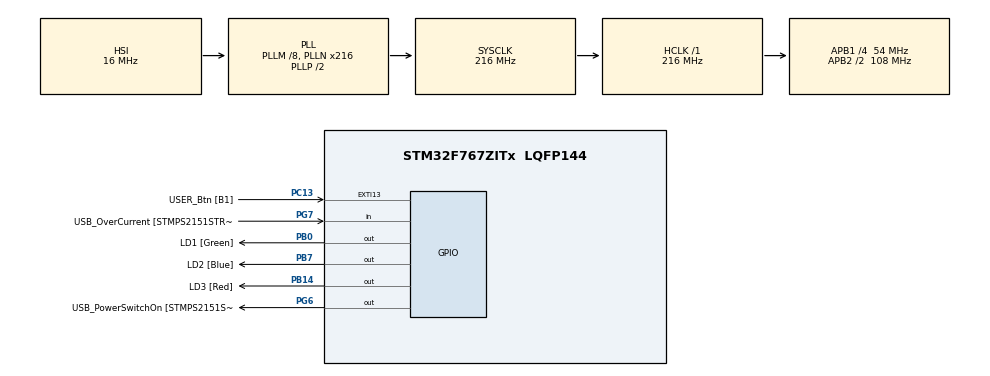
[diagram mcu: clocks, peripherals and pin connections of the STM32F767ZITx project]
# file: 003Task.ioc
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Mcu.Family=STM32F7
Mcu.Name=STM32F767ZITx
Mcu.Package=LQFP144
NVIC.PriorityGroup=NVIC_PRIORITYGROUP_4
NVIC.TIM6_DAC_IRQn=true\:15\:0\:false\:false\:true\:false\:true\:true
NVIC.TimeBase=TIM6_DAC_IRQn
NVIC.TimeBaseIP=TIM6
PA1.GPIO_Label=RMII_REF_CLK [LAN8742A-CZ-TR_REFCLK0]
PA1.Signal=ETH_REF_CLK
PA10.GPIO_Label=USB_ID
PA10.Signal=USB_OTG_FS_ID
PA11.GPIO_Label=USB_DM
PA11.Signal=USB_OTG_FS_DM
PA12.GPIO_Label=USB_DP
PA12.Signal=USB_OTG_FS_DP
PA13.GPIO_Label=TMS
PA13.Signal=SYS_JTMS-SWDIO
PA14.GPIO_Label=TCK
PA14.Signal=SYS_JTCK-SWCLK
PA2.GPIO_Label=RMII_MDIO [LAN8742A-CZ-TR_MDIO]
PA2.Signal=ETH_MDIO
PA7.GPIO_Label=RMII_CRS_DV [LAN8742A-CZ-TR_CRS_DV]
PA7.Signal=ETH_CRS_DV
PA8.GPIO_Label=USB_SOF [TP1]
PA8.Signal=USB_OTG_FS_SOF
PA9.GPIO_Label=USB_VBUS
PA9.Signal=USB_OTG_FS_VBUS
PB0.GPIO_Label=LD1 [Green]
PB0.Signal=GPIO_Output
PB13.GPIO_Label=RMII_TXD1 [LAN8742A-CZ-TR_TXD1]
PB13.Signal=ETH_TXD1
PB14.GPIO_Label=LD3 [Red]
PB14.Signal=GPIO_Output
PB3.GPIO_Label=SW0
PB3.Signal=SYS_JTDO-SWO
PB7.GPIO_Label=LD2 [Blue]
PB7.Signal=GPIO_Output
PC1.GPIO_Label=RMII_MDC [LAN8742A-CZ-TR_MDC]
PC1.Signal=ETH_MDC
PC13.GPIO_Label=USER_Btn [B1]
PC13.Signal=GPXTI13
PC14/OSC32_IN.Signal=RCC_OSC32_IN
PC15/OSC32_OUT.Signal=RCC_OSC32_OUT
PC4.GPIO_Label=RMII_RXD0 [LAN8742A-CZ-TR_RXD0]
PC4.Signal=ETH_RXD0
PC5.GPIO_Label=RMII_RXD1 [LAN8742A-CZ-TR_RXD1]
PC5.Signal=ETH_RXD1
PD8.GPIO_Label=STLK_RX [STM32F103CBT6_PA3]
PD8.Signal=USART3_TX
PD9.GPIO_Label=STLK_TX [STM32F103CBT6_PA2]
PD9.Signal=USART3_RX
PG11.GPIO_Label=RMII_TX_EN [LAN8742A-CZ-TR_TXEN]
PG11.Signal=ETH_TX_EN
PG13.GPIO_Label=RMII_TXD0 [LAN8742A-CZ-TR_TXD0]
PG13.Signal=ETH_TXD0
PG6.GPIO_Label=USB_PowerSwitchOn [STMPS2151STR_EN]
PG6.Signal=GPIO_Output
PG7.GPIO_Label=USB_OverCurrent [STMPS2151STR_FAULT]
PG7.Signal=GPIO_Input
PH0/OSC_IN.GPIO_Label=MCO [STM32F103CBT6_PA8]
PH0/OSC_IN.Signal=RCC_OSC_IN
PH1/OSC_OUT.Signal=RCC_OSC_OUT
ProjectManager.HeapSize=0x200
ProjectManager.StackSize=0x400
ProjectManager.TargetToolchain=STM32CubeIDE
RCC.48MHZClocksFreq_Value=24000000
RCC.AHBFreq_Value=216000000
RCC.APB1CLKDivider=RCC_HCLK_DIV4
RCC.APB1Freq_Value=54000000
RCC.APB1TimFreq_Value=108000000
RCC.APB2CLKDivider=RCC_HCLK_DIV2
RCC.APB2Freq_Value=108000000
RCC.APB2TimFreq_Value=216000000
RCC.CortexFreq_Value=216000000
RCC.HCLKFreq_Value=216000000
RCC.HSE_VALUE=16000000
RCC.HSI_VALUE=16000000
RCC.LSE_VALUE=32768
RCC.PLLM=8
RCC.PLLMUL=RCC_PLL_MUL9
RCC.PLLN=216
RCC.PRESCALERUSB=RCC_USBCLKSOURCE_PLL_DIV1_5
RCC.SYSCLKFreq_VALUE=216000000
RCC.SYSCLKSource=RCC_SYSCLKSOURCE_PLLCLK
RCC.SYSCLKSourceVirtual=RCC_SYSCLKSOURCE_PLLCLK
RCC.USBFreq_Value=216000000
RCC.VCOOutputFreq_Value=432000000
VP_SYS_VS_tim6.Mode=TIM6
board=NUCLEO-F767ZI

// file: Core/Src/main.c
/* USER CODE BEGIN Header */
/**
  ******************************************************************************
  * @file           : main.c
  * @brief          : Main program body
  ******************************************************************************
  * @attention
  *
  * Copyright (c) 2024 STMicroelectronics.
  * All rights reserved.
  *
  * This software is licensed under terms that can be found in the LICENSE file
  * in the root directory of this software component.
  * If no LICENSE file comes with this software, it is provided AS-IS.
  *
  ******************************************************************************
  */
/* USER CODE END Header */
#include "main.h"
#include "gpio.h"

/* USER CODE BEGIN Includes */
#include "FreeRTOS.h"
#include "task.h"
/* USER CODE END Includes */

/* USER CODE BEGIN PV */
#define DWT_CTRL (*(volatile uint32_t*)0xE0001000)
/* USER CODE END PV */

void SystemClock_Config(void);
/* USER CODE BEGIN PFP */
static void vLED_Green_handler( void * pvParameters );
static void vLED_Blue_handler( void * pvParameters );
static void vLED_Red_handler( void * pvParameters );

extern void SEGGER_UART_init(uint32_t);

/* USER CODE END PFP */

int main(void)
{
  /* USER CODE BEGIN 1 */
	TaskHandle_t pvled_green_handle;
	TaskHandle_t pvled_blue_handle;
	TaskHandle_t pvled_red_handle;

	BaseType_t status;
  /* USER CODE END 1 */

  /* MCU Configuration--------------------------------------------------------*/

  /* Reset of all peripherals, Initializes the Flash interface and the Systick. */
  HAL_Init();

  /* Configure the system clock */
  SystemClock_Config();

  /* Initialize all configured peripherals */
  MX_GPIO_Init();
  /* USER CODE BEGIN 2 */

  //Enable the CYCCNT counter
  DWT_CTRL |= (1 << 0);

  SEGGER_UART_init(500000);

  SEGGER_SYSVIEW_Conf();

  status = xTaskCreate(vLED_Green_handler, "LED_green_task", 200, NULL, 2, &pvled_green_handle);
  configASSERT(status == pdPASS);

  status = xTaskCreate(vLED_Blue_handler, "LED_blue_task", 200, NULL, 2, &pvled_blue_handle);
  configASSERT(status == pdPASS);

  status = xTaskCreate(vLED_Red_handler, "LED_red_task", 200, NULL, 2, &pvled_red_handle);
  configASSERT(status == pdPASS);

  //Start the FreeRTOS scheduler
  vTaskStartScheduler();

  /* USER CODE END 2 */

  /* Infinite loop */
  while (1)
  {

  }
}

void SystemClock_Config(void)
{
  RCC_OscInitTypeDef RCC_OscInitStruct = {0};
  RCC_ClkInitTypeDef RCC_ClkInitStruct = {0};

  /** Configure the main internal regulator output voltage
  */
  __HAL_RCC_PWR_CLK_ENABLE();
  __HAL_PWR_VOLTAGESCALING_CONFIG(PWR_REGULATOR_VOLTAGE_SCALE1);

  /** Initializes the RCC Oscillators according to the specified parameters
  * in the RCC_OscInitTypeDef structure.
  */
  RCC_OscInitStruct.OscillatorType = RCC_OSCILLATORTYPE_HSI;
  RCC_OscInitStruct.HSIState = RCC_HSI_ON;
  RCC_OscInitStruct.HSICalibrationValue = RCC_HSICALIBRATION_DEFAULT;
  RCC_OscInitStruct.PLL.PLLState = RCC_PLL_ON;
  RCC_OscInitStruct.PLL.PLLSource = RCC_PLLSOURCE_HSI;
  RCC_OscInitStruct.PLL.PLLM = 8;
  RCC_OscInitStruct.PLL.PLLN = 216;
  RCC_OscInitStruct.PLL.PLLP = RCC_PLLP_DIV2;
  RCC_OscInitStruct.PLL.PLLQ = 2;
  RCC_OscInitStruct.PLL.PLLR = 2;
  if (HAL_RCC_OscConfig(&RCC_OscInitStruct) != HAL_OK)
  {
    Error_Handler();
  }

  /** Activate the Over-Drive mode
  */
  if (HAL_PWREx_EnableOverDrive() != HAL_OK)
  {
    Error_Handler();
  }

  /** Initializes the CPU, AHB and APB buses clocks
  */
  RCC_ClkInitStruct.ClockType = RCC_CLOCKTYPE_HCLK|RCC_CLOCKTYPE_SYSCLK
                              |RCC_CLOCKTYPE_PCLK1|RCC_CLOCKTYPE_PCLK2;
  RCC_ClkInitStruct.SYSCLKSource = RCC_SYSCLKSOURCE_PLLCLK;
  RCC_ClkInitStruct.AHBCLKDivider = RCC_SYSCLK_DIV1;
  RCC_ClkInitStruct.APB1CLKDivider = RCC_HCLK_DIV4;
  RCC_ClkInitStruct.APB2CLKDivider = RCC_HCLK_DIV2;

  if (HAL_RCC_ClockConfig(&RCC_ClkInitStruct, FLASH_LATENCY_7) != HAL_OK)
  {
    Error_Handler();
  }
}

/* USER CODE BEGIN 4 */
static void vLED_Green_handler( void * pvParameters )
{
	while(1)
	{
		SEGGER_SYSVIEW_PrintfTarget("Toggling green LED");
		HAL_GPIO_TogglePin(GPIOB, GREEN_LED_PIN);
		//HAL_Delay(1000);
		vTaskDelay(pdMS_TO_TICKS(1000));
	}
}
static void vLED_Blue_handler( void * pvParameters )
{
	while(1)
	{
		SEGGER_SYSVIEW_PrintfTarget("Toggling blue LED");
		HAL_GPIO_TogglePin(GPIOB, BLUE_LED_PIN);
		//HAL_Delay(800);
		vTaskDelay(pdMS_TO_TICKS(800));
	}
}
static void vLED_Red_handler( void * pvParameters )
{
	while(1)
	{
		SEGGER_SYSVIEW_PrintfTarget("Toggling red LED");
		HAL_GPIO_TogglePin(GPIOB, RED_LED_PIN);
		//HAL_Delay(400);
		vTaskDelay(pdMS_TO_TICKS(400));
	}
}
/* USER CODE END 4 */

void HAL_TIM_PeriodElapsedCallback(TIM_HandleTypeDef *htim)
{
  if (htim->Instance == TIM6) {
    HAL_IncTick();
  }
}

void Error_Handler(void)
{
  __disable_irq();
  while (1)
  {
  }
}
